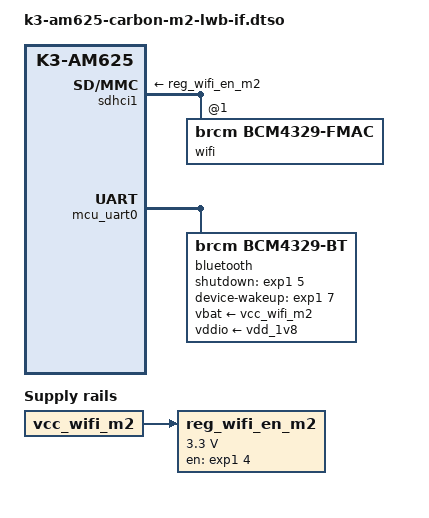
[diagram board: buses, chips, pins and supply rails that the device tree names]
// SPDX-License-Identifier: GPL-2.0
/*
 * M.2 SDIO LWBxx & IFxxx module
 *
 * Copyright (C) 2024 Ezurio LLC
 */

/dts-v1/;
/plugin/;

#include "k3-am625-carbon-m2.dtsi"

&{/} {
	reg_wifi_en_m2: regulator-wifi-en-m2 {
		compatible = "regulator-fixed";

		regulator-name = "reg_wifi_en";
		regulator-min-microvolt = <3300000>;
		regulator-max-microvolt = <3300000>;

		vin-supply = <&vcc_wifi_m2>;

		gpios = <&exp1 4 GPIO_ACTIVE_HIGH>;   /* M2_WDISABLE1# */
		enable-active-high;

		startup-delay-us = <250000>;
		off-on-delay-us = <100>;
	};
};

&sdhci1 { /* SDIO_A uSD / M.2_SDIO */
	vmmc-supply = <&reg_wifi_en_m2>;

	#address-cells = <1>;
	#size-cells = <0>;

	wifi@1 {
		reg = <1>;
		compatible = "brcm,bcm4329-fmac";
	};
};

&mcu_uart0 {
	bluetooth {
		compatible = "brcm,bcm4329-bt";
		vbat-supply = <&vcc_wifi_m2>;
		vddio-supply = <&vdd_1v8>;
		brcm,requires-autobaud-mode;
		max-speed = <921600>;
		shutdown-gpios = <&exp1 5 GPIO_ACTIVE_HIGH>;
		device-wakeup-gpios = <&exp1 7 GPIO_ACTIVE_HIGH>;
	};
};

&wifi_wakeup_m2 {
	status = "disabled";
};

&exp2 {
	/delete-property/ wakeup-source;
};
